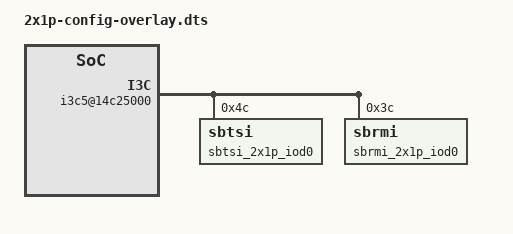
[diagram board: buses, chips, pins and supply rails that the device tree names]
// SPDX-License-Identifier: GPL-2.0
/dts-v1/;
/plugin/;

/ {
	fragment@0 {
		target-path = "/soc@14000000/i3c5@14c25000";
		__overlay__ {
			sbtsi_p1_iod0: sbtsi@48,22401000118 {
			status = "disabled";
			reg = <0x48 0x224 0x01000118>;
			assigned-address = <0x48>;
			};

			sbtsi_2x1p_iod0: sbtsi@4c,22400000118 {
			status = "okay";
			reg = <0x4c 0x224 0x00000118>;
			assigned-address = <0x48>;
			};

			sbrmi_p1_iod0: sbrmi@38,22401001118 {
			status = "disabled";
			reg = <0x38 0x224 0x01001118>;
			assigned-address = <0x38>;
			};

			sbrmi_2x1p_iod0: sbrmi@3c,22400001118 {
			status = "okay";
			reg = <0x3c 0x224 0x00001118>;
			assigned-address = <0x38>;
			};
		};
	};
};
